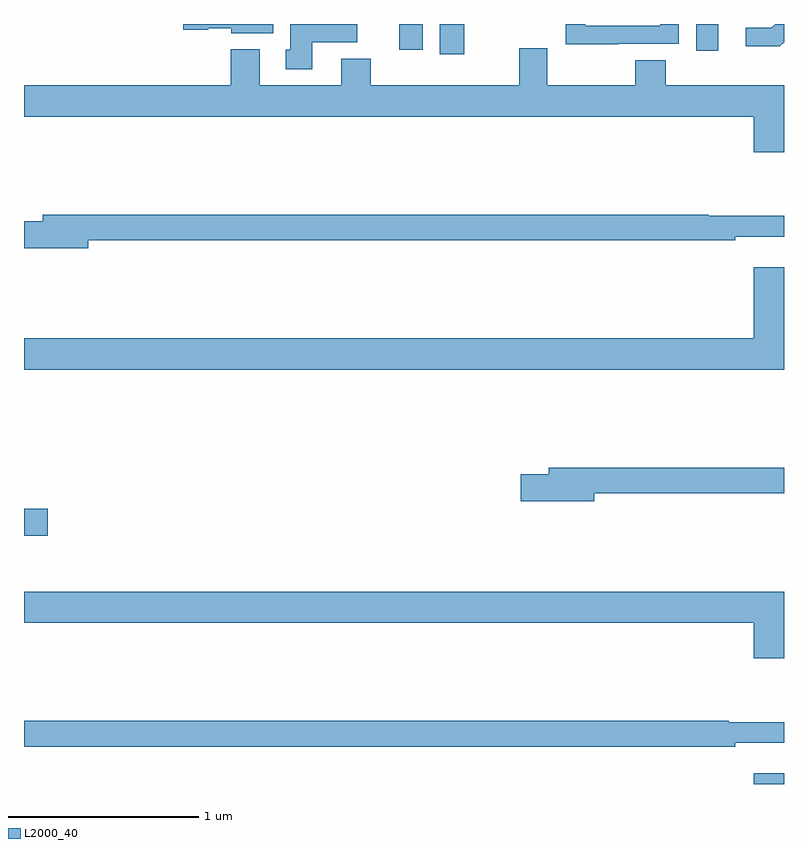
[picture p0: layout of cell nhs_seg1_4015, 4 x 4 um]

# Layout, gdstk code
import gdstk
lib = gdstk.Library(unit=1e-6, precision=1e-09)
def R(c, l, rs):  # rectangles x0, y0, x1, y1
    for r in rs: c.add(gdstk.rectangle(r[:2], r[2:], *l))
def P(c, l, *ps):  # polygons
    for p in ps: c.add(gdstk.Polygon(p, *l))
L2000_40 = (2000, 40)

nhs_seg1_4015 = lib.new_cell('nhs_seg1_4015')
R(nhs_seg1_4015, L2000_40, [(332.84,568.199,333,568.255), (329,569.506,329.125,569.648), (331.187,572.04,331.318,572.199), (332.538,572.058,332.653,572.199), (330.974,572.064,331.099,572.199)])
P(nhs_seg1_4015, L2000_40, [(332.129,572.094),(332.445,572.094),(332.445,572.199),(332.349,572.199),(332.349,572.19),(331.953,572.19),(331.953,572.199),(331.852,572.199),(331.852,572.093),(332.129,572.093)],
  [(333,572.104),(333,572.199),(332.954,572.199),(332.933,572.178),(332.799,572.178),(332.799,572.081),(332.977,572.081)],
  [(330.517,572.102),(330.753,572.102),(330.753,572.199),(330.401,572.199),(330.401,572.064),(330.377,572.064),(330.377,571.962),(330.517,571.962)],
  [(330.313,572.199),(329.838,572.199),(329.838,572.17),(329.97,572.17),(329.97,572.177),(330.09,572.177),(330.09,572.15),(330.313,572.15)],
  [(333,571.876),(332.378,571.876),(332.378,572.009),(332.218,572.009),(332.218,571.876),(331.755,571.876),(331.755,572.071),(331.607,572.071),(331.607,571.876),(330.824,571.876),(330.824,572.017),(330.671,572.017),(330.671,571.876),(330.241,571.876),(330.241,572.065),(330.089,572.065),(330.089,571.876),(329,571.876),(329,571.712),(332.84,571.712),(332.84,571.524),(333,571.524)],
  [(329.338,571.06),(332.744,571.06),(332.744,571.079),(333,571.079),(333,571.189),(332.603,571.189),(332.603,571.196),(329.099,571.196),(329.099,571.16),(329,571.16),(329,571.018),(329.338,571.018)],
  [(333,570.919),(332.84,570.919),(332.84,570.544),(329,570.544),(329,570.38),(333,570.38)],
  [(332.002,569.728),(333,569.728),(333,569.864),(331.763,569.864),(331.763,569.828),(331.614,569.828),(331.614,569.686),(332.002,569.686)],
  [(333,569.212),(329,569.212),(329,569.048),(332.84,569.048),(332.84,568.86),(333,568.86)],
  [(332.744,568.415),(333,568.415),(333,568.525),(332.71,568.525),(332.71,568.532),(329,568.532),(329,568.396),(332.744,568.396)])

lib.write_gds('nhs_seg1_4015.gds')
